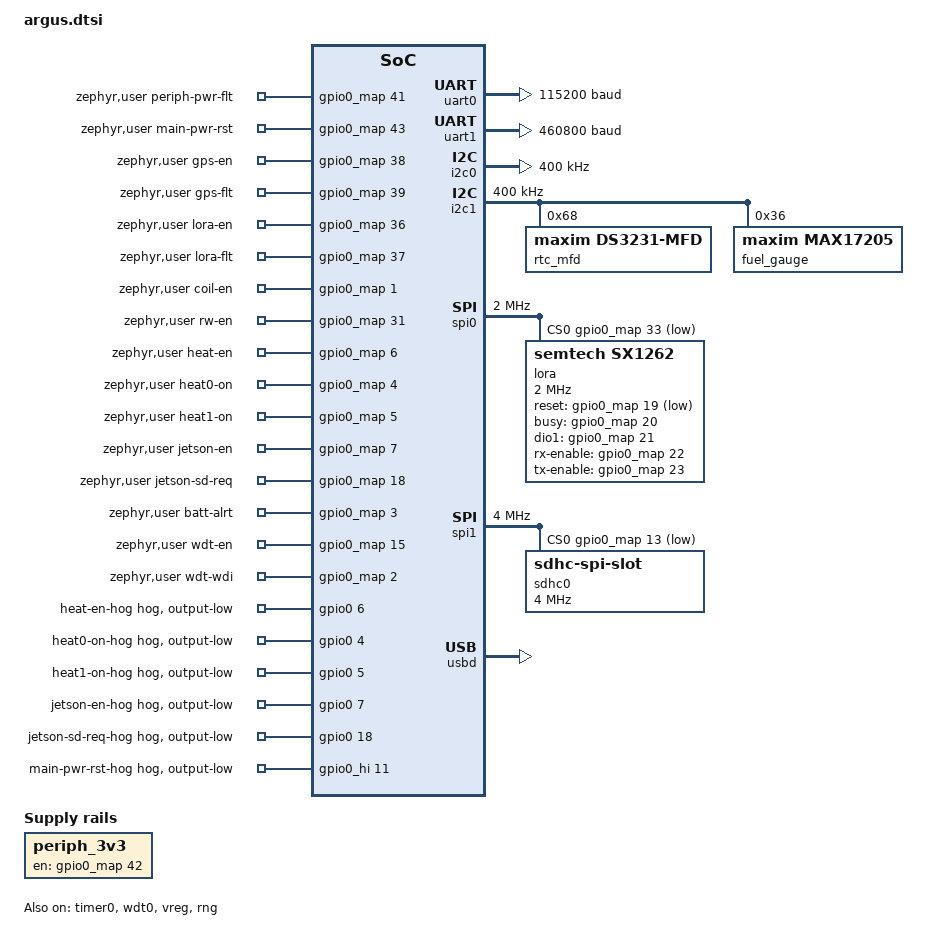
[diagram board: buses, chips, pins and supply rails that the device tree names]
/*
 * SPDX-License-Identifier: Apache-2.0
 *
 * CMU Argus Mainboard: RP2350B, W25Q32JV (4 MiB) flash.
 *
 * These base files describe revision 4. Later revisions go in
 * argus_rp2350b_m33_0_<N>.overlay (see board.yml).
 *
 * Pin numbers come from the Python flight software's
 * firmware/Mainboard v4/pins.c and bus assignments from its
 * flight/hal/argus_v4.py.
 *
 * GPIOs are referenced through &gpio0_map, which takes the raw GPIO number
 * (0-47) and routes 32-47 to the high bank, so numbers match pins.c.
 */

#include <freq.h>

#include <zephyr/dt-bindings/i2c/i2c.h>
#include <zephyr/dt-bindings/led/led.h>
#include <zephyr/dt-bindings/lora/sx126x.h>

#include "argus-pinctrl.dtsi"

/ {
	chosen {
		zephyr,sram = &sram0;
		zephyr,flash = &flash0;
		zephyr,flash-controller = &qmi;
		zephyr,code-partition = &code_partition;
	};

	aliases {
		watchdog0 = &wdt0;
		led-strip = &neopixel;
		lora0 = &lora;
		gps-uart = &uart0;
		jetson-uart = &uart1;
	};

	/*
	 * Board control lines, read with GPIO_DT_SPEC_GET(DT_PATH(zephyr_user), <prop>).
	 * Enables are active-high (the Python HAL sets them True to turn things on).
	 * *-flt-gpios and batt-alrt-gpios are described at the raw pin level;
	 * their real polarity has not been checked against the schematic.
	 */
	/* PERIPH_PWR_EN. Powers I2C0/I2C1 devices; comes up before their drivers init. */
	periph_3v3: periph-3v3 {
		compatible = "regulator-fixed";
		regulator-name = "periph_3v3";
		enable-gpios = <&gpio0_map 42 GPIO_ACTIVE_HIGH>;
		startup-delay-us = <100000>;
		regulator-boot-on;
	};

	zephyr,user {
		periph-pwr-flt-gpios = <&gpio0_map 41 GPIO_ACTIVE_HIGH>;

		/* Power-cycles the MCU rail. */
		main-pwr-rst-gpios = <&gpio0_map 43 GPIO_ACTIVE_HIGH>;

		gps-en-gpios = <&gpio0_map 38 GPIO_ACTIVE_HIGH>;
		gps-flt-gpios = <&gpio0_map 39 GPIO_ACTIVE_HIGH>;
		lora-en-gpios = <&gpio0_map 36 GPIO_ACTIVE_HIGH>;
		lora-flt-gpios = <&gpio0_map 37 GPIO_ACTIVE_HIGH>;
		coil-en-gpios = <&gpio0_map 1 GPIO_ACTIVE_HIGH>;
		rw-en-gpios = <&gpio0_map 31 GPIO_ACTIVE_HIGH>;

		heat-en-gpios = <&gpio0_map 6 GPIO_ACTIVE_HIGH>;
		heat0-on-gpios = <&gpio0_map 4 GPIO_ACTIVE_HIGH>;
		heat1-on-gpios = <&gpio0_map 5 GPIO_ACTIVE_HIGH>;

		jetson-en-gpios = <&gpio0_map 7 GPIO_ACTIVE_HIGH>;
		/* Wired to the 5V DC-DC enable, per argus_v4.py. */
		jetson-sd-req-gpios = <&gpio0_map 18 GPIO_ACTIVE_HIGH>;

		batt-alrt-gpios = <&gpio0_map 3 GPIO_ACTIVE_HIGH>;

		/*
		 * External watchdog. Driving WDT_EN high arms it; after that WDT_WDI
		 * must be toggled or the board resets. Left undriven at boot.
		 */
		wdt-en-gpios = <&gpio0_map 15 GPIO_ACTIVE_HIGH>;
		wdt-wdi-gpios = <&gpio0_map 2 GPIO_ACTIVE_HIGH>;
	};
};

&flash0 {
	reg = <0x10000000 DT_SIZE_M(4)>;
	ranges = <0x0 0x10000000 DT_SIZE_M(4)>;
	status = "okay";

	partitions {
		ranges;
		#address-cells = <0x1>;
		#size-cells = <0x1>;

		code_partition: partition@0 {
			compatible = "zephyr,mapped-partition";
			label = "code";
			reg = <0x0 DT_SIZE_M(3)>;
			read-only;
		};

		storage_partition: partition@300000 {
			compatible = "zephyr,mapped-partition";
			label = "storage";
			reg = <0x300000 DT_SIZE_M(1)>;
		};
	};
};

/* Hogs: pins held low from GPIO init, before the app runs. Bank pin = GPIO - 32 on gpio0_hi. */
gpio0_lo: &gpio0 {
	status = "okay";

	heat-en-hog {
		gpio-hog;
		gpios = <6 GPIO_ACTIVE_HIGH>;
		output-low;
	};

	heat0-on-hog {
		gpio-hog;
		gpios = <4 GPIO_ACTIVE_HIGH>;
		output-low;
	};

	heat1-on-hog {
		gpio-hog;
		gpios = <5 GPIO_ACTIVE_HIGH>;
		output-low;
	};

	jetson-en-hog {
		gpio-hog;
		gpios = <7 GPIO_ACTIVE_HIGH>;
		output-low;
	};

	jetson-sd-req-hog {
		gpio-hog;
		gpios = <18 GPIO_ACTIVE_HIGH>;
		output-low;
	};
};

&gpio0_hi {
	status = "okay";

	/* GPIO43 */
	main-pwr-rst-hog {
		gpio-hog;
		gpios = <11 GPIO_ACTIVE_HIGH>;
		output-low;
	};
};

/* GPS */
&uart0 {
	current-speed = <115200>;
	pinctrl-0 = <&uart0_default>;
	pinctrl-names = "default";
	status = "okay";
};

/* Jetson */
&uart1 {
	current-speed = <460800>;
	pinctrl-0 = <&uart1_default>;
	pinctrl-names = "default";
	status = "okay";
};

&i2c0 {
	clock-frequency = <I2C_BITRATE_FAST>;
	pinctrl-0 = <&i2c0_default>;
	pinctrl-names = "default";
	status = "okay";
};

&i2c1 {
	clock-frequency = <I2C_BITRATE_FAST>;
	pinctrl-0 = <&i2c1_default>;
	pinctrl-names = "default";
	status = "okay";

	rtc_mfd: ds3231@68 {
		compatible = "maxim,ds3231-mfd";
		reg = <0x68>;
		status = "okay";

		rtc: rtc {
			compatible = "maxim,ds3231-rtc";
			status = "okay";
		};
	};

	/* Battery board fuel gauge. Shadow RAM answers at 0x0B too (see binding). */
	fuel_gauge: max17205@36 {
      compatible = "maxim,max17205";
      reg = <0x36>;
      rsense-micro-ohms = <10000>;   /* check the schematic */
      status = "okay";
	};
};

&spi0 {
	clock-frequency = <DT_FREQ_M(2)>;
	pinctrl-0 = <&spi0_default>;
	pinctrl-names = "default";
	cs-gpios = <&gpio0_map 33 GPIO_ACTIVE_LOW>;
	status = "okay";

	/* Settings match the defaults used by flight/hal/drivers/sx126x.py. */
	lora: lora@0 {
		compatible = "semtech,sx1262";
		reg = <0>;
		spi-max-frequency = <DT_FREQ_M(2)>;
		reset-gpios = <&gpio0_map 19 GPIO_ACTIVE_LOW>;
		busy-gpios = <&gpio0_map 20 GPIO_ACTIVE_HIGH>;
		dio1-gpios = <&gpio0_map 21 GPIO_ACTIVE_HIGH>;
		rx-enable-gpios = <&gpio0_map 22 GPIO_ACTIVE_HIGH>;
		tx-enable-gpios = <&gpio0_map 23 GPIO_ACTIVE_HIGH>;
		dio3-tcxo-voltage = <SX126X_DIO3_TCXO_1V7>;
		tcxo-power-startup-delay-ms = <5>;
		status = "okay";
	};
};

&spi1 {
	clock-frequency = <DT_FREQ_M(4)>;
	pinctrl-0 = <&spi1_default>;
	pinctrl-names = "default";
	cs-gpios = <&gpio0_map 13 GPIO_ACTIVE_LOW>;
	status = "okay";

	sdhc0: sdhc@0 {
		compatible = "zephyr,sdhc-spi-slot";
		reg = <0>;
		spi-max-frequency = <DT_FREQ_M(4)>;
		status = "okay";

		mmc {
			compatible = "zephyr,sdmmc-disk";
			disk-name = "SD";
			status = "okay";
		};
	};
};

&pio0 {
	status = "okay";

	pio-ws2812 {
		compatible = "worldsemi,ws2812-rpi_pico-pio";
		pinctrl-0 = <&ws2812_pio0_default>;
		pinctrl-names = "default";
		bit-waveform = <3>, <3>, <4>;
		status = "okay";

		neopixel: ws2812 {
			gpios = <&gpio0_map 0 GPIO_ACTIVE_HIGH>;
			chain-length = <1>;
			color-mapping = <LED_COLOR_ID_GREEN
					 LED_COLOR_ID_RED
					 LED_COLOR_ID_BLUE>;
			reset-delay = <280>;
			frequency = <DT_FREQ_K(800)>;
			status = "okay";
		};
	};
};

&timer0 {
	status = "okay";
};

&wdt0 {
	status = "okay";
};

&vreg {
	status = "okay";
};

&rng {
	status = "okay";
};

zephyr_udc0: &usbd {
	status = "okay";
};

#include <../boards/common/usb/cdc_acm_serial.dtsi>
